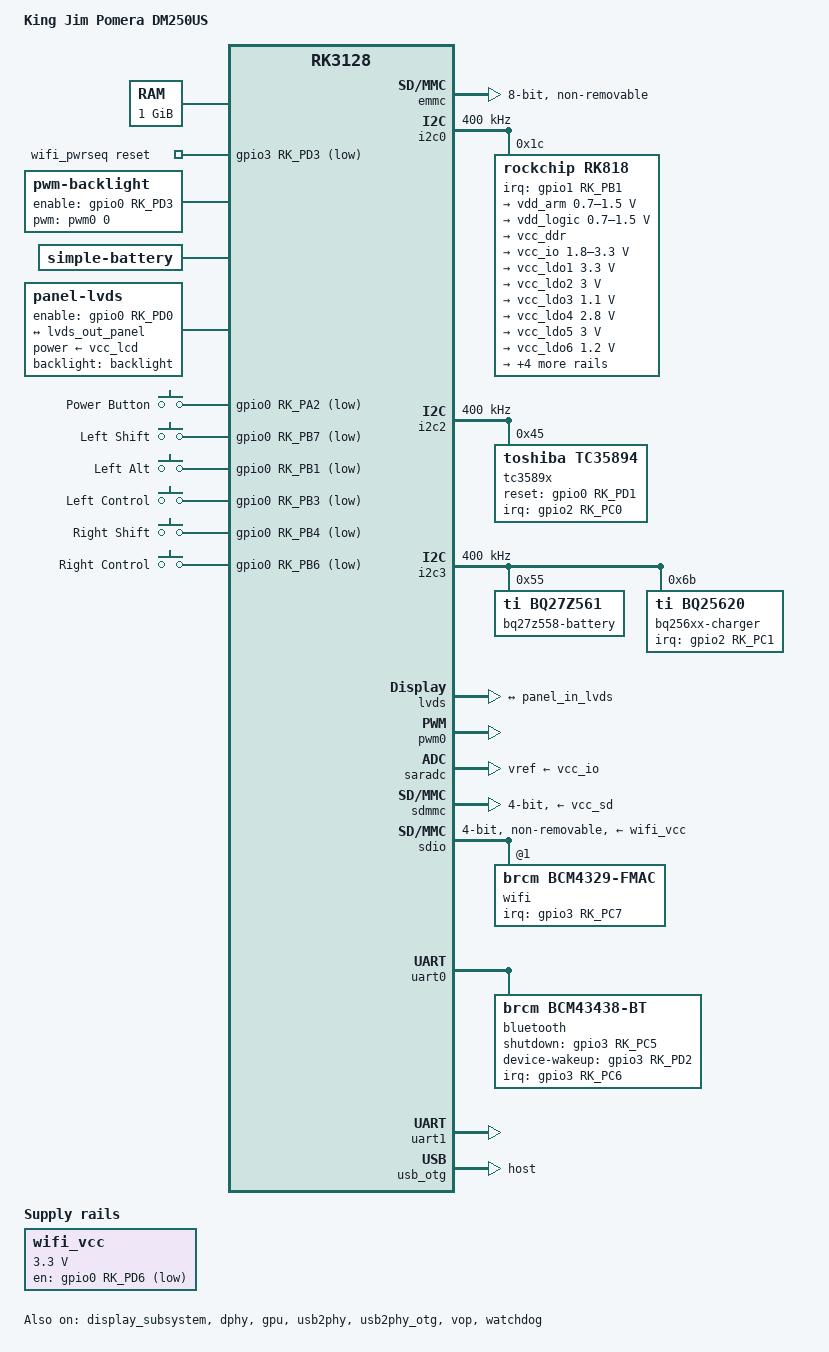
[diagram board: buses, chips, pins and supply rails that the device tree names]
// SPDX-License-Identifier: (GPL-2.0+ OR MIT)

/dts-v1/;

#include "rk3128.dtsi"
#include <dt-bindings/input/input.h>
#include <dt-bindings/pwm/pwm.h>

/ {
	model = "King Jim Pomera DM250US";
	compatible = "kingjim,pomera-dm250us", "rockchip,rk3128";

	aliases {
		mmc0 = &emmc;
		mmc1 = &sdmmc;
	};

	chosen {
		stdout-path = &uart1;
	};

	memory@60000000 {
		device_type = "memory";
		reg = <0x60000000 0x40000000>;
	};

	wifi_vcc: wifi-vcc {
		compatible = "regulator-fixed";
		gpio = <&gpio0 RK_PD6 GPIO_ACTIVE_LOW>;
		pinctrl-names = "default";
		pinctrl-0 = <&wifi_power>;
		regulator-name = "wifi-vcc";
		regulator-min-microvolt = <3300000>;
		regulator-max-microvolt = <3300000>;
		startup-delay-us = <100000>;
	};

	wifi_pwrseq: wifi-pwrseq {
		compatible = "mmc-pwrseq-simple";
		pinctrl-names = "default";
		pinctrl-0 = <&wifi_reset>;
		reset-gpios = <&gpio3 RK_PD3 GPIO_ACTIVE_LOW>;
		post-power-on-delay-ms = <200>;
	};

	backlight: backlight {
		compatible = "pwm-backlight";
		brightness-levels = <255 0>;
		num-interpolated-steps = <255>;
		default-brightness-level = <128>;
		enable-gpios = <&gpio0 RK_PD3 GPIO_ACTIVE_HIGH>;
		pinctrl-names = "default";
		pinctrl-0 = <&backlight_enable>;
		pwms = <&pwm0 0 25000 0>;
	};

	battery: battery {
		compatible = "simple-battery";
		device-chemistry = "lithium-ion";
		charge-full-design-microamp-hours = <5800000>;
		voltage-min-design-microvolt = <3400000>;
		voltage-max-design-microvolt = <4200000>;
		constant-charge-current-max-microamp = <2800000>;
		constant-charge-voltage-max-microvolt = <4200000>;
		precharge-current-microamp = <580000>;
		charge-term-current-microamp = <150000>;
		factory-internal-resistance-micro-ohms = <45000>;
		ocv-capacity-celsius = <20>;
		ocv-capacity-table-0 =
			<4200000 100>, <4137000 95>, <4103000 90>,
			<4068000 85>, <4034000 80>, <3988000 75>,
			<3937000 70>, <3914000 65>, <3891000 60>,
			<3869000 55>, <3848000 50>, <3828000 45>,
			<3808000 40>, <3788000 35>, <3765000 30>,
			<3743000 25>, <3716000 20>, <3685000 15>,
			<3669000 10>, <3638000 5>, <3400000 0>;
	};

	panel {
		compatible = "panel-lvds";
		backlight = <&backlight>;
		data-mapping = "jeida-18";
		enable-gpios = <&gpio0 RK_PD0 GPIO_ACTIVE_HIGH>;
		height-mm = <125>;
		pinctrl-names = "default";
		pinctrl-0 = <&panel_enable>;
		power-supply = <&vcc_lcd>;
		width-mm = <223>;

		panel-timing {
			clock-frequency = <51200000>;
			hactive = <1024>;
			vactive = <600>;
			hback-porch = <100>;
			hfront-porch = <210>;
			hsync-len = <10>;
			vback-porch = <8>;
			vfront-porch = <25>;
			vsync-len = <2>;
			hsync-active = <0>;
			vsync-active = <0>;
			de-active = <0>;
			pixelclk-active = <0>;
		};

		port {
			panel_in_lvds: endpoint {
				remote-endpoint = <&lvds_out_panel>;
			};
		};
	};

	gpio-keys {
		compatible = "gpio-keys";
		pinctrl-names = "default";
		pinctrl-0 = <&dm250us_button_pins>;

		power-key {
			label = "Power Button";
			linux,code = <KEY_POWER>;
			gpios = <&gpio0 RK_PA2 GPIO_ACTIVE_LOW>;
			debounce-interval = <100>;
			wakeup-source;
		};

		left-shift {
			label = "Left Shift";
			linux,code = <KEY_LEFTSHIFT>;
			gpios = <&gpio0 RK_PB7 GPIO_ACTIVE_LOW>;
			debounce-interval = <50>;
			wakeup-source;
		};

		left-alt {
			label = "Left Alt";
			linux,code = <KEY_LEFTALT>;
			gpios = <&gpio0 RK_PB1 GPIO_ACTIVE_LOW>;
			debounce-interval = <50>;
			wakeup-source;
		};

		left-control {
			label = "Left Control";
			linux,code = <KEY_LEFTCTRL>;
			gpios = <&gpio0 RK_PB3 GPIO_ACTIVE_LOW>;
			debounce-interval = <50>;
			wakeup-source;
		};

		right-shift {
			label = "Right Shift";
			linux,code = <KEY_RIGHTSHIFT>;
			gpios = <&gpio0 RK_PB4 GPIO_ACTIVE_LOW>;
			debounce-interval = <50>;
			wakeup-source;
		};

		right-control {
			label = "Right Control";
			linux,code = <KEY_RIGHTCTRL>;
			gpios = <&gpio0 RK_PB6 GPIO_ACTIVE_LOW>;
			debounce-interval = <50>;
			wakeup-source;
		};
	};
};

&cpu0 {
	cpu-supply = <&vdd_arm>;
};

&cpu1 {
	cpu-supply = <&vdd_arm>;
};

&cpu2 {
	cpu-supply = <&vdd_arm>;
};

&cpu3 {
	cpu-supply = <&vdd_arm>;
};

&display_subsystem {
	status = "okay";
};

&dphy {
	status = "okay";
};

&emmc {
	bus-width = <8>;
	cap-mmc-highspeed;
	max-frequency = <50000000>;
	mmc-ddr-3_3v;
	no-sd;
	no-sdio;
	non-removable;
	pinctrl-names = "default";
	pinctrl-0 = <&emmc_clk &emmc_cmd &emmc_bus8>;
	status = "okay";
};

&gpu {
	mali-supply = <&vdd_logic>;
	status = "okay";
};

&i2c0 {
	clock-frequency = <400000>;
	status = "okay";

	rk818: pmic@1c {
		compatible = "rockchip,rk818";
		reg = <0x1c>;
		interrupt-parent = <&gpio1>;
		interrupts = <RK_PB1 IRQ_TYPE_LEVEL_LOW>;
		/* Keep the factory IRQ declaration, but leave PB1 pinmux to UART1. */
		system-power-controller;
		wakeup-source;
		#clock-cells = <1>;

		regulators {
			vdd_arm: DCDC_REG1 {
				regulator-name = "vdd_arm";
				regulator-always-on;
				regulator-boot-on;
				regulator-min-microvolt = <700000>;
				regulator-max-microvolt = <1500000>;
			};

			vdd_logic: DCDC_REG2 {
				regulator-name = "vdd_logic";
				regulator-always-on;
				regulator-boot-on;
				regulator-min-microvolt = <700000>;
				regulator-max-microvolt = <1500000>;
			};

			vcc_ddr: DCDC_REG3 {
				regulator-name = "vcc_ddr";
				regulator-always-on;
				regulator-boot-on;
			};

			vcc_io: DCDC_REG4 {
				regulator-name = "vcc_io";
				regulator-always-on;
				regulator-boot-on;
				regulator-min-microvolt = <1800000>;
				regulator-max-microvolt = <3300000>;
			};

			vcc_ldo1: LDO_REG1 {
				regulator-name = "rk818_ldo1";
				regulator-always-on;
				regulator-boot-on;
				regulator-min-microvolt = <3300000>;
				regulator-max-microvolt = <3300000>;
			};

			vcc_ldo2: LDO_REG2 {
				regulator-name = "rk818_ldo2";
				regulator-always-on;
				regulator-boot-on;
				regulator-min-microvolt = <3000000>;
				regulator-max-microvolt = <3000000>;
			};

			vcc_ldo3: LDO_REG3 {
				regulator-name = "rk818_ldo3";
				regulator-always-on;
				regulator-boot-on;
				regulator-min-microvolt = <1100000>;
				regulator-max-microvolt = <1100000>;
			};

			vcc_ldo4: LDO_REG4 {
				regulator-name = "rk818_ldo4";
				regulator-always-on;
				regulator-boot-on;
				regulator-min-microvolt = <2800000>;
				regulator-max-microvolt = <2800000>;
			};

			vcc_ldo5: LDO_REG5 {
				regulator-name = "rk818_ldo5";
				regulator-always-on;
				regulator-boot-on;
				regulator-min-microvolt = <3000000>;
				regulator-max-microvolt = <3000000>;
			};

			vcc_ldo6: LDO_REG6 {
				regulator-name = "rk818_ldo6";
				regulator-always-on;
				regulator-boot-on;
				regulator-min-microvolt = <1200000>;
				regulator-max-microvolt = <1200000>;
			};

			vcc_ldo7: LDO_REG7 {
				regulator-name = "rk818_ldo7";
				regulator-always-on;
				regulator-boot-on;
				regulator-min-microvolt = <1800000>;
				regulator-max-microvolt = <1800000>;
			};

			vcc_ldo8: LDO_REG8 {
				regulator-name = "rk818_ldo8";
				regulator-always-on;
				regulator-boot-on;
				regulator-min-microvolt = <3300000>;
				regulator-max-microvolt = <3300000>;
			};

			vcc_sd: LDO_REG9 {
				regulator-name = "vcc_sd";
				regulator-always-on;
				regulator-boot-on;
				regulator-min-microvolt = <1800000>;
				regulator-max-microvolt = <3000000>;
			};

			vcc_lcd: SWITCH_REG {
				regulator-name = "vcc_lcd";
				regulator-always-on;
				regulator-boot-on;
			};
		};
	};
};

&i2c2 {
	clock-frequency = <400000>;
	status = "okay";

	tc3589x@45 {
		compatible = "toshiba,tc35894";
		reg = <0x45>;
		interrupt-parent = <&gpio2>;
		interrupts = <RK_PC0 IRQ_TYPE_EDGE_FALLING>;
		interrupt-controller;
		#interrupt-cells = <1>;
		reset-gpios = <&gpio0 RK_PD1 GPIO_ACTIVE_HIGH>;
		pinctrl-names = "default";
		pinctrl-0 = <&tc35894_irq>, <&tc35894_reset>;
		wakeup-source;

		keypad {
			compatible = "toshiba,tc3589x-keypad";
			/* Use the driver's 0xa3 debounce default, as in U-Boot. */
			interrupts = <6>;
			keypad,num-columns = <11>;
			keypad,num-rows = <8>;
			wakeup-source;
			linux,keymap =
				<MATRIX_KEY(6, 9, KEY_ESC)>,
				<MATRIX_KEY(7, 9, KEY_F1)>,
				<MATRIX_KEY(7, 10, KEY_F2)>,
				<MATRIX_KEY(7, 8, KEY_F3)>,
				<MATRIX_KEY(5, 8, KEY_F4)>,
				<MATRIX_KEY(6, 8, KEY_F5)>,
				<MATRIX_KEY(4, 7, KEY_F6)>,
				<MATRIX_KEY(6, 5, KEY_F7)>,
				<MATRIX_KEY(5, 4, KEY_F8)>,
				<MATRIX_KEY(7, 4, KEY_F9)>,
				<MATRIX_KEY(7, 2, KEY_F10)>,
				<MATRIX_KEY(3, 2, KEY_INSERT)>,
				<MATRIX_KEY(4, 4, KEY_DELETE)>,
				<MATRIX_KEY(3, 9, KEY_GRAVE)>,
				<MATRIX_KEY(3, 10, KEY_1)>,
				<MATRIX_KEY(3, 8, KEY_2)>,
				<MATRIX_KEY(3, 7, KEY_3)>,
				<MATRIX_KEY(7, 7, KEY_4)>,
				<MATRIX_KEY(7, 6, KEY_5)>,
				<MATRIX_KEY(3, 6, KEY_6)>,
				<MATRIX_KEY(3, 5, KEY_7)>,
				<MATRIX_KEY(3, 4, KEY_8)>,
				<MATRIX_KEY(3, 3, KEY_9)>,
				<MATRIX_KEY(7, 3, KEY_0)>,
				<MATRIX_KEY(7, 5, KEY_MINUS)>,
				<MATRIX_KEY(5, 2, KEY_EQUAL)>,
				<MATRIX_KEY(4, 2, KEY_BACKSPACE)>,
				<MATRIX_KEY(5, 9, KEY_TAB)>,
				<MATRIX_KEY(2, 9, KEY_Q)>,
				<MATRIX_KEY(2, 10, KEY_W)>,
				<MATRIX_KEY(2, 8, KEY_E)>,
				<MATRIX_KEY(2, 7, KEY_R)>,
				<MATRIX_KEY(5, 7, KEY_T)>,
				<MATRIX_KEY(5, 6, KEY_Y)>,
				<MATRIX_KEY(2, 6, KEY_U)>,
				<MATRIX_KEY(2, 5, KEY_I)>,
				<MATRIX_KEY(2, 4, KEY_O)>,
				<MATRIX_KEY(2, 3, KEY_P)>,
				<MATRIX_KEY(5, 3, KEY_LEFTBRACE)>,
				<MATRIX_KEY(5, 5, KEY_RIGHTBRACE)>,
				<MATRIX_KEY(2, 2, KEY_BACKSLASH)>,
				<MATRIX_KEY(5, 10, KEY_CAPSLOCK)>,
				<MATRIX_KEY(1, 9, KEY_A)>,
				<MATRIX_KEY(1, 10, KEY_S)>,
				<MATRIX_KEY(1, 8, KEY_D)>,
				<MATRIX_KEY(1, 7, KEY_F)>,
				<MATRIX_KEY(6, 7, KEY_G)>,
				<MATRIX_KEY(6, 6, KEY_H)>,
				<MATRIX_KEY(1, 6, KEY_J)>,
				<MATRIX_KEY(1, 5, KEY_K)>,
				<MATRIX_KEY(1, 4, KEY_L)>,
				<MATRIX_KEY(1, 3, KEY_SEMICOLON)>,
				<MATRIX_KEY(6, 3, KEY_APOSTROPHE)>,
				<MATRIX_KEY(1, 2, KEY_ENTER)>,
				<MATRIX_KEY(0, 9, KEY_Z)>,
				<MATRIX_KEY(0, 10, KEY_X)>,
				<MATRIX_KEY(0, 8, KEY_C)>,
				<MATRIX_KEY(0, 7, KEY_V)>,
				<MATRIX_KEY(4, 8, KEY_B)>,
				<MATRIX_KEY(4, 6, KEY_N)>,
				<MATRIX_KEY(0, 6, KEY_M)>,
				<MATRIX_KEY(0, 5, KEY_COMMA)>,
				<MATRIX_KEY(0, 4, KEY_DOT)>,
				<MATRIX_KEY(4, 3, KEY_SLASH)>,
				<MATRIX_KEY(6, 10, KEY_MENU)>,
				<MATRIX_KEY(6, 1, KEY_SPACE)>,
				<MATRIX_KEY(0, 0, KEY_LEFT)>,
				<MATRIX_KEY(1, 0, KEY_UP)>,
				<MATRIX_KEY(2, 0, KEY_DOWN)>,
				<MATRIX_KEY(3, 0, KEY_RIGHT)>;
		};
	};
};

&i2c3 {
	clock-frequency = <400000>;
	status = "okay";

	bq27z558-battery@55 {
		compatible = "ti,bq27z561";
		reg = <0x55>;
		monitored-battery = <&battery>;
		status = "okay";
	};

	bq256xx-charger@6b {
		compatible = "ti,bq25620";
		reg = <0x6b>;
		interrupt-parent = <&gpio2>;
		interrupts = <RK_PC1 IRQ_TYPE_EDGE_FALLING>;
		monitored-battery = <&battery>;
		ti,watchdog-timeout-ms = <0>;
		charge-current-limit-microamp = <2880000>;
		charge-voltage-limit-microvolt = <4230000>;
		input-current-limit-microamp = <3000000>;
		pre-charge-control-microamp = <580000>;
		termination-control-microamp = <150000>;
		ti,no-thermistor;
		status = "okay";
	};
};

&lvds {
	status = "okay";

	ports {
		port@1 {
			lvds_out_panel: endpoint {
				remote-endpoint = <&panel_in_lvds>;
			};
		};
	};
};

&pinctrl {
	pcfg_output_low: pcfg-output-low {
		bias-disable;
		output-low;
	};

	pcfg_pull_up: pcfg-pull-up {
		bias-pull-up;
	};

	buttons {
		dm250us_button_pins: dm250us-button-pins {
			rockchip,pins =
				<0 RK_PA2 RK_FUNC_GPIO &pcfg_pull_none>,
				<0 RK_PB7 RK_FUNC_GPIO &pcfg_pull_none>,
				<0 RK_PB1 RK_FUNC_GPIO &pcfg_pull_none>,
				<0 RK_PB3 RK_FUNC_GPIO &pcfg_pull_none>,
				<0 RK_PB4 RK_FUNC_GPIO &pcfg_pull_none>,
				<0 RK_PB6 RK_FUNC_GPIO &pcfg_pull_none>;
		};
	};

	keyboard {
		tc35894_irq: tc35894-irq {
			rockchip,pins = <2 RK_PC0 RK_FUNC_GPIO &pcfg_pull_none>;
		};

		tc35894_reset: tc35894-reset {
			rockchip,pins = <0 RK_PD1 RK_FUNC_GPIO &pcfg_pull_none>;
		};
	};

	display {
		backlight_enable: backlight-enable {
			rockchip,pins = <0 RK_PD3 RK_FUNC_GPIO &pcfg_output_low>;
		};

		panel_enable: panel-enable {
			rockchip,pins = <0 RK_PD0 RK_FUNC_GPIO &pcfg_pull_none>;
		};
	};

	bluetooth {
		bt_reset: bt-reset {
			rockchip,pins = <3 RK_PC5 RK_FUNC_GPIO &pcfg_pull_none>;
		};

		bt_wake: bt-wake {
			rockchip,pins = <3 RK_PD2 RK_FUNC_GPIO &pcfg_pull_none>;
		};

		bt_host_wake: bt-host-wake {
			rockchip,pins = <3 RK_PC6 RK_FUNC_GPIO &pcfg_pull_none>;
		};
	};

	wireless {
		wifi_power: wifi-power {
			rockchip,pins = <0 RK_PD6 RK_FUNC_GPIO &pcfg_pull_none>;
		};

		wifi_host_wake: wifi-host-wake {
			rockchip,pins = <3 RK_PC7 RK_FUNC_GPIO &pcfg_pull_none>;
		};

		wifi_reset: wifi-reset {
			rockchip,pins = <3 RK_PD3 RK_FUNC_GPIO &pcfg_pull_none>;
		};
	};
};

&pwm0 {
	status = "okay";
};

&saradc {
	vref-supply = <&vcc_io>;
	status = "okay";
};

&sdmmc {
	broken-cd;
	bus-width = <4>;
	cap-sd-highspeed;
	max-frequency = <37500000>;
	pinctrl-names = "default";
	pinctrl-0 = <&sdmmc_clk &sdmmc_cmd &sdmmc_bus4>;
	vmmc-supply = <&vcc_sd>;
	status = "okay";
};

&sdio {
	bus-width = <4>;
	cap-sd-highspeed;
	cap-sdio-irq;
	keep-power-in-suspend;
	mmc-pwrseq = <&wifi_pwrseq>;
	vmmc-supply = <&wifi_vcc>;
	max-frequency = <50000000>;
	non-removable;
	#address-cells = <1>;
	#size-cells = <0>;
	pinctrl-names = "default";
	pinctrl-0 = <&sdio_clk &sdio_cmd &sdio_bus4>;
	status = "okay";

	wifi@1 {
		compatible = "brcm,bcm4329-fmac";
		reg = <1>;
		interrupt-parent = <&gpio3>;
		interrupts = <RK_PC7 IRQ_TYPE_LEVEL_LOW>;
		interrupt-names = "host-wake";
		pinctrl-names = "default";
		pinctrl-0 = <&wifi_host_wake>;
		brcm,ccode-map-trivial;
	};
};

&uart0 {
	status = "okay";
	dma-names = "!tx", "!rx";
	pinctrl-0 = <&uart0_xfer &uart0_cts &uart0_rts>;
	uart-has-rtscts;

	bluetooth {
		compatible = "brcm,bcm43438-bt";
		shutdown-gpios = <&gpio3 RK_PC5 GPIO_ACTIVE_HIGH>;
		device-wakeup-gpios = <&gpio3 RK_PD2 GPIO_ACTIVE_HIGH>;
		interrupt-parent = <&gpio3>;
		interrupts = <RK_PC6 IRQ_TYPE_LEVEL_LOW>;
		interrupt-names = "host-wakeup";
		pinctrl-names = "default";
		pinctrl-0 = <&bt_reset &bt_wake &bt_host_wake>;
	};
};

&uart1 {
	status = "okay";
};

&usb2phy {
	status = "okay";
};

&usb2phy_otg {
	status = "okay";
};

&usb_otg {
	/* No VBUS source on Pomera: use externally powered USB devices. */
	dr_mode = "host";
	status = "okay";
};

&vop {
	status = "okay";
};

&watchdog {
	status = "okay";
};
